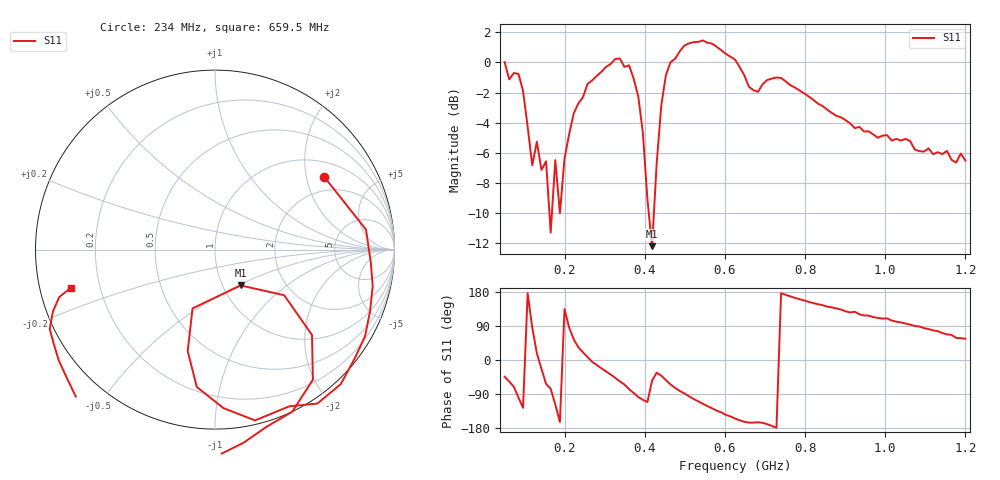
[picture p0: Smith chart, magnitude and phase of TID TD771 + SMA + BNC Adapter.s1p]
# HZ S RI R 50
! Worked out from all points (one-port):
!   101 points, 50 MHz to 1.2 GHz, reference 50 ohm
!   lowest |S11| = -12.2 dB at 418 MHz (marker M1), VSWR 1.65, Z = 60.7 - j25.8 ohm
!   |S11| at or under -10 dB: 161.9 MHz to 168.1 MHz (6.177 MHz wide, 3.74 % of centre); 409.8 MHz to 422.6 MHz (12.75 MHz wide, 3.06 % of centre)
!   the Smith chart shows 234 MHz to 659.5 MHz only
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5e7  0.7193 -0.6978
7.3e7  0.3088 -0.8687
8.45e7  -0.1418 -0.9053
9.6e7  -0.4769 -0.6483
1.075e8  -0.6105 0.0396
1.19e8  0.037 0.4544
1.305e8  0.52 0.166
1.535e8  0.2131 -0.4189
1.65e8  0.0657 -0.2649
1.765e8  -0.2173 -0.4216
1.88e8  -0.3036 -0.0888
1.995e8  -0.3367 0.3418
2.225e8  0.3935 0.5516
2.57e8  0.8413 0.1114
3.03e8  0.8357 -0.4838
3.375e8  0.571 -0.8576
3.605e8  0.2232 -0.9518
3.835e8  -0.1012 -0.7657
4.065e8  -0.1251 -0.3273
4.18e8  0.1435 -0.1998
4.525e8  0.5455 -0.7244
4.87e8  0.1601 -1.075
5.445e8  -0.5047 -1.069
6.25e8  -0.9208 -0.4424
7.745e8  -0.7933 0.2287
9.125e8  -0.3646 0.5109
1.062e9  -0.0326 0.5481
1.2e9  0.2628 0.3929
